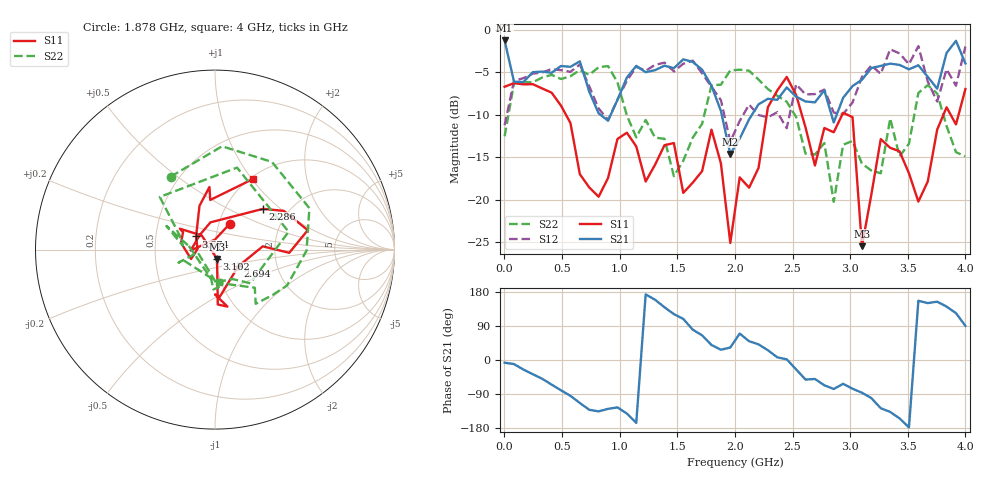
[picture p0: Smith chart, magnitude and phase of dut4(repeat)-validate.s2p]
!Created with skrf (http://scikit-rf.org).
# GHz S DB R 50.0
!freq dBS11 angS11 dBS21 angS21 dBS12 angS12 dBS22 angS22
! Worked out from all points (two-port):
!   50 points, 1 MHz to 4 GHz, reference 50 ohm
!   highest |S21| = -1.25 dB at 1 MHz (marker M1); lowest = -14.6 dB at 1.96 GHz (marker M2)
!   |S21| within 3 dB of the highest: 3.264 GHz to 3.448 GHz (184.8 MHz wide, 5.51 % of centre); 3.807 GHz to end of sweep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
!   lowest |S11| = -25.4 dB at 3.102 GHz (marker M3), VSWR 1.11, Z = 50.9 - j5.33 ohm
!   |S11| at or under -10 dB: 533.9 MHz to 2.276 GHz (1.742 GHz wide, 124 % of centre); 2.581 GHz to 2.93 GHz (349.4 MHz wide, 12.7 % of centre); 2.977 GHz to 3.809 GHz (832.3 MHz wide, 24.5 % of centre)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
!   |S22| runs from -20.2 to -4.3 dB; largest |S21 - S12| = 0.67
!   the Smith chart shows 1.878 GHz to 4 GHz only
!   S11 on the Smith chart (normalised r, x): 1.878 GHz: 1.13, +0.33; 2.286 GHz: 1.49, +0.77; 2.694 GHz: 1.27, -0.24; 3.102 GHz: 1.02, -0.11; 3.674 GHz: 0.80, +0.12; 4 GHz: 1.03, +1.02
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0.001  -6.70 102.7  -1.25 -7.1  -11.22 -45.6  -12.52 -164.2
0.08261224  -6.27 162.8  -6.10 -10.7  -6.00 -11.2  -6.30 168.8
0.4090612  -7.39 77.2  -5.06 -65.0  -4.62 -58.5  -5.30 107.3
0.7355102  -18.53 -65.2  -7.26 -131.5  -6.65 -142.8  -5.30 9.1
0.8987347  -17.42 104.4  -10.69 -128.9  -10.59 -135.4  -4.27 -43.6
1.061959  -12.10 10.6  -5.61 -141.3  -6.00 -142.6  -10.07 -74.1
1.388408  -13.57 -117.4  -4.22 139.3  -3.87 148.6  -12.81 -140.4
1.633245  -17.98 140.1  -3.78 80.2  -3.62 79.3  -12.69 171.6
1.878082  -15.70 60.3  -9.54 27.1  -8.27 36.1  -6.46 121.3
1.959694  -25.06 89.9  -14.61 33.0  -13.14 41.5  -4.78 86.1
2.041306  -17.35 -177.9  -12.80 69.7  -10.72 52.6  -4.69 57.0
2.286143  -9.10 40.3  -8.11 25.7  -10.30 23.7  -6.96 -26.5
2.449367  -5.55 11.9  -6.78 1.8  -11.58 -1.9  -8.46 -53.1
2.694204  -15.95 -35.8  -8.53 -50.1  -7.56 -34.7  -14.67 -161.1
2.857429  -12.05 -90.0  -10.90 -76.5  -9.72 -69.7  -20.23 -170.7
3.020653  -10.28 -87.1  -6.62 -75.9  -8.55 -79.2  -13.07 -92.4
3.102265  -25.44 -77.7  -5.88 -86.4  -5.54 -103.5  -15.74 -97.6
3.347102  -13.87 151.5  -3.98 -137.0  -2.29 -148.3  -10.43 154.1
3.591939  -20.20 178.4  -4.17 156.3  -1.92 163.6  -7.43 136.4
3.673551  -17.83 145.2  -5.53 150.1  -6.10 151.0  -6.50 75.0
3.918388  -11.12 95.5  -1.30 123.6  -6.58 128.0  -14.38 -59.2
4  -6.97 61.6  -3.96 90.1  -1.97 92.0  -14.89 -83.0
